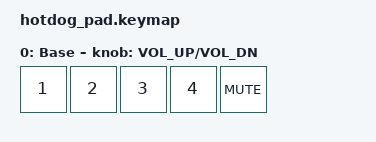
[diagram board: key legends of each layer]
#include <behaviors.dtsi>
#include <dt-bindings/zmk/keys.h>

/ {
	keymap {
		compatible = "zmk,keymap";
		
		base {
			display-name = "Base";
			bindings = <
			&kp N1
			&kp N2
			&kp N3
			&kp N4
			&kp C_MUTE
			>;
			
			sensor-bindings = <&inc_dec_kp C_VOL_UP C_VOL_DN>;
		};
		
		extra1 {
			status = "reserved";
		};
		
		extra2 {
			status = "reserved";
		};
	};
};
